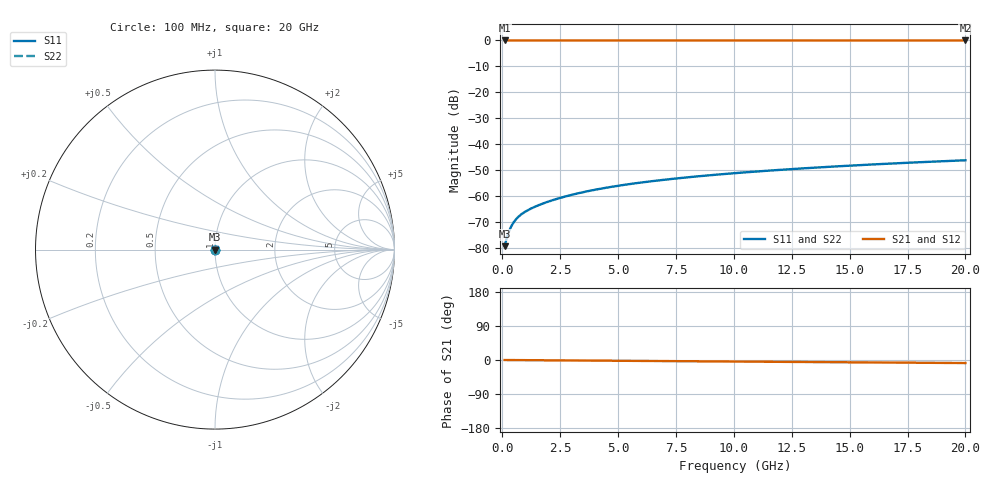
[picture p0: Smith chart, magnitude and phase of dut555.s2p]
! Touchstone file exported from HFSS 2026.1.0
!  File:  C:/ffzhzh/LocalFiles/Ansys_Project_Files/temp_train_TSV_555_1783024363_46388.aedt
!  Generated:  04:34:17 AM Jul  3, 2026
!  Design:  TSV
!  Project:  temp_train_TSV_555_1783024363_46388
! Variables:
!  h_bsmrdl = 2um
!  h_ox = 20um
!  h_rdl = 5um
!  h_sub = 78.72um
!  h_tmrdl = 5um
!  h_tsv = 78.72um
!  h_via = 3um
!  l_bsmrdl = 300um
!  l_sub = 425.36um
!  l_tmrdl = 200um
!  m_sub = 200um
!  pitch = 52.48um
!  r_tsv = 12.68um
!  s_tmrdl = 10um
!  w_bsmrdl = 18um
!  w_sub = 500um
!  w_tmrdl = 12um
!  x_tsv_center1 = 206um
!  x_tsv_center2 = 524um
!  x_tsv_center3 = 736um
!  x_tsv_center4 = 1054um
!  x_tsv_center5 = 1266um
!  x_tsv_center6 = 1584um
# GHz S MA R 50.000000
! Terminal data exported
! Port[1] = TSV1_1_T1
! Port[2] = TSV1_1_T2
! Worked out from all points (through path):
!   200 points, 100 MHz to 20 GHz, reference 50 ohm
!   highest |S21| = 0.00 dB at 100 MHz (marker M1); lowest = 0.0 dB at 20 GHz (marker M2)
!   group delay of S21, straight-line fit = 1.12 ps
!   lowest |S11| = -79.3 dB at 100 MHz (marker M3), VSWR 1.00, Z = 50 + j0.00643 ohm
!   |S11| at or under -10 dB: start of sweep to end of sweep
!   |S22| runs from -79.3 to -46.2 dB; largest |S21 - S12| = 3e-15
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0.1  0.0001089 36.2  0.9999 -0.0  0.9999 -0.0  0.0001089 36.2
! Gamma 0 0 0 0
! Port Impedance 50 0 50 0
0.2  0.0001607 51.3  0.9999 -0.1  0.9999 -0.1  0.0001607 51.3
0.3  0.0002165 56.7  0.9999 -0.1  0.9999 -0.1  0.0002165 56.7
0.4  0.0002697 58.6  0.9999 -0.2  0.9999 -0.2  0.0002697 58.6
0.5  0.0003185 59.2  0.9998 -0.2  0.9998 -0.2  0.0003185 59.2
0.6  0.0003626 59.3  0.9998 -0.3  0.9998 -0.3  0.0003626 59.3
0.7  0.0004027 59.3  0.9998 -0.3  0.9998 -0.3  0.0004027 59.3
0.9  0.0004737 59.4  0.9998 -0.4  0.9998 -0.4  0.0004737 59.4
1.1  0.0005367 59.8  0.9997 -0.5  0.9997 -0.5  0.0005367 59.8
1.3  0.0005955 60.5  0.9997 -0.5  0.9997 -0.5  0.0005954 60.5
1.9  0.0007628 62.9  0.9997 -0.8  0.9997 -0.8  0.0007628 62.9
2.6  0.0009545 65.1  0.9996 -1.1  0.9996 -1.1  0.0009545 65.1
3.5  0.001197 67.0  0.9996 -1.4  0.9996 -1.4  0.001197 67.0
4.2  0.001382 67.8  0.9995 -1.7  0.9995 -1.7  0.001382 67.8
5  0.001586 68.5  0.9995 -2.0  0.9995 -2.0  0.001586 68.5
5.9  0.00181 69.0  0.9994 -2.4  0.9994 -2.4  0.00181 69.0
6.8  0.002027 69.4  0.9994 -2.8  0.9994 -2.8  0.002027 69.4
8.3  0.002379 69.9  0.9993 -3.4  0.9993 -3.4  0.00238 69.9
10.1  0.002792 70.2  0.9992 -4.1  0.9992 -4.1  0.002792 70.2
13.4  0.003526 70.3  0.9991 -5.4  0.9991 -5.4  0.003527 70.3
16.7  0.004237 70.0  0.999 -6.7  0.999 -6.7  0.004237 70.0
20  0.004917 69.4  0.9989 -8.1  0.9989 -8.1  0.004918 69.4
